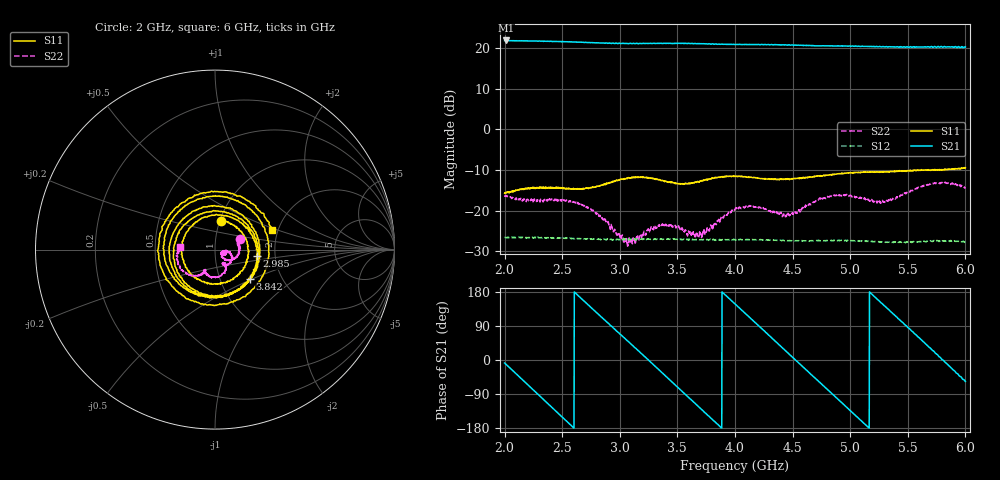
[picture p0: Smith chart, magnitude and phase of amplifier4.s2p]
#  HZ  S  DB  R  50.00
! Rohde & Schwarz ZVA24 4Ports - Version 3.60 - 1145.1110k28 SN: 101513
! Date: 2019-09-25 19:08:50
! Measurements: S33 S43 S34 S44
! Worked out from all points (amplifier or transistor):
!   1601 points, 2 GHz to 6 GHz, reference 50 ohm
!   highest |S21| = 21.9 dB at 2.01 GHz (marker M1)
!   |S21| within 3 dB of that: start of sweep to end of sweep
!   unconditionally stable (mu >= 1): start of sweep to end of sweep
!   at 2.665 GHz: K = 1.16, MAG = 21.8 dB, |S12| = -26.9 dB
!   at 4 GHz: K = 1.17, MAG = 21.6 dB, |S12| = -27.2 dB
!   at 6 GHz: K = 1.14, MAG = 21.7 dB, |S12| = -27.7 dB
!   S11 on the Smith chart (normalised r, x): 2 GHz: 1.02, +0.33; 2.985 GHz: 1.60, -0.12; 3.842 GHz: 1.39, -0.48; 6 GHz: 1.87, +0.46
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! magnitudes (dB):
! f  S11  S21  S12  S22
! 2 GHz  -15.7  21.9  -26.6  -16.3
! 2.01 GHz  -15.7  21.9  -26.6  -16.3
! 2.24 GHz  -14.4  21.8  -26.5  -17.6
! 2.495 GHz  -14.5  21.7  -26.7  -17.5
! 2.667 GHz  -14.7  21.5  -27.0  -18.5
! 2.855 GHz  -13.6  21.3  -27.1  -22.1
! 2.985 GHz  -12.6  21.2  -27.1  -25.6
! 3.083 GHz  -12.0  21.2  -27.2  -27.5
! 3.335 GHz  -12.4  21.2  -27.0  -23.8
! 3.493 GHz  -13.3  21.2  -27.1  -24.0
! 3.695 GHz  -12.8  21.2  -27.2  -25.7
! 3.842 GHz  -11.9  21.0  -27.1  -22.8
! 4 GHz  -11.6  21.0  -27.2  -19.7
! 4.14 GHz  -11.8  20.9  -27.2  -19.1
! 4.43 GHz  -12.2  20.8  -27.4  -20.8
! 4.668 GHz  -11.7  20.7  -27.4  -18.3
! 4.875 GHz  -11.0  20.6  -27.4  -16.3
! 5.253 GHz  -10.6  20.4  -27.7  -17.8
! 5.335 GHz  -10.4  20.4  -27.8  -17.5
! 5.715 GHz  -9.9  20.3  -27.6  -13.3
! 5.838 GHz  -9.8  20.3  -27.5  -13.3
! 6 GHz  -9.4  20.3  -27.7  -14.3
